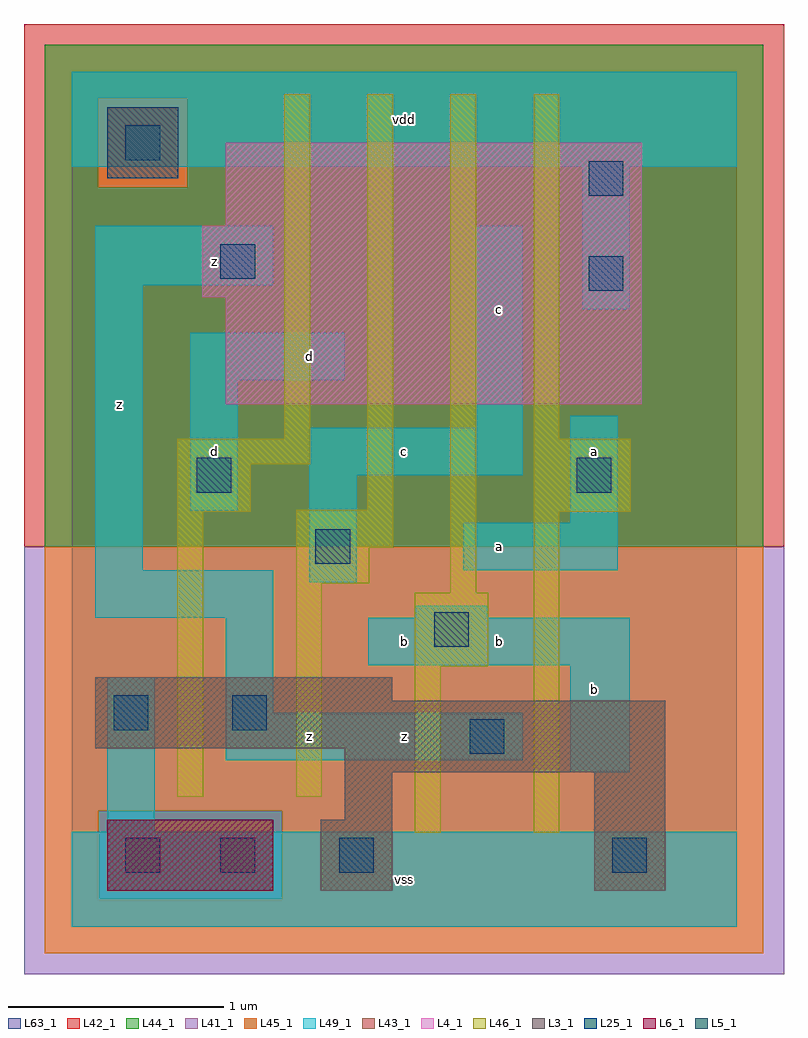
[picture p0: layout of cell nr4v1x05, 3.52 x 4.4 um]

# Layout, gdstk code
import gdstk
lib = gdstk.Library(unit=1e-6, precision=1e-09)
def R(c, l, rs):  # rectangles x0, y0, x1, y1
    for r in rs: c.add(gdstk.rectangle(r[:2], r[2:], *l))
L3_1 = (3, 1)
L4_1 = (4, 1)
L5_1 = (5, 1)
L6_1 = (6, 1)
L25_1 = (25, 1)
L41_1 = (41, 1)
L42_1 = (42, 1)
L43_1 = (43, 1)
L44_1 = (44, 1)
L45_1 = (45, 1)
L46_1 = (46, 1)
L49_1 = (49, 1)
L63_1 = (63, 1)

nr4v1x05 = lib.new_cell('nr4v1x05')
R(nr4v1x05, L3_1, [(1.155,0.165,1.485,0.495), (2.42,0.165,2.75,0.715), (1.265,0.495,1.485,0.715), (1.265,0.715,2.75,0.825), (0.11,0.825,2.75,1.045), (0.11,1.045,1.485,1.155)])
R(nr4v1x05, L4_1, [(0.715,2.42,2.64,2.915), (0.605,2.915,2.64,3.245), (0.715,3.245,2.64,3.63)])
R(nr4v1x05, L5_1, [(0.165,3.465,0.495,3.795)])
R(nr4v1x05, L6_1, [(0.165,0.165,0.935,0.495)])
R(nr4v1x05, L25_1, [(0.25,0.25,0.41,0.41), (0.69,0.25,0.85,0.41), (1.24,0.25,1.4,0.41), (2.505,0.25,2.665,0.41), (1.845,0.8,2.005,0.96), (0.195,0.91,0.355,1.07), (0.745,0.91,0.905,1.07), (1.68,1.295,1.84,1.455), (1.13,1.68,1.29,1.84), (0.58,2.01,0.74,2.17), (2.34,2.01,2.5,2.17), (2.395,2.945,2.555,3.105), (0.69,3,0.85,3.16), (2.395,3.385,2.555,3.545), (0.25,3.55,0.41,3.71)])
R(nr4v1x05, L41_1, [(-0.22,-0.22,3.3,1.76)])
R(nr4v1x05, L42_1, [(-0.22,1.76,3.3,4.18)])
R(nr4v1x05, L43_1, [(0.165,0.165,0.935,0.495), (1.155,0.165,1.485,0.495), (2.42,0.165,2.75,0.715), (1.265,0.495,1.485,0.715), (1.265,0.715,2.75,0.825), (0.11,0.825,2.75,1.045), (0.11,1.045,1.485,1.155), (0.715,2.42,2.64,2.915), (0.605,2.915,2.64,3.245), (0.715,3.245,2.64,3.63), (0.165,3.465,0.495,3.795)])
R(nr4v1x05, L44_1, [(0.125,0.125,0.975,0.535), (-0.125,1.76,3.205,3.425), (-0.125,3.425,0.125,3.835), (0.535,3.425,3.205,3.835), (-0.125,3.835,3.205,4.085)])
R(nr4v1x05, L45_1, [(-0.125,-0.125,3.205,0.125), (-0.125,0.125,0.125,0.535), (0.975,0.125,3.205,0.535), (-0.125,0.535,3.205,1.76), (0.125,3.425,0.535,3.835)])
R(nr4v1x05, L46_1, [(1.59,0.435,1.71,1.205), (2.14,0.435,2.26,1.92), (0.49,0.6,0.61,1.92), (1.04,0.6,1.16,1.59), (1.59,1.205,1.93,1.545), (1.755,1.545,1.875,3.855), (1.04,1.59,1.38,1.755), (1.04,1.755,1.49,1.93), (0.49,1.92,0.83,2.14), (2.14,1.92,2.59,2.26), (1.37,1.93,1.49,3.855), (0.49,2.14,1.105,2.26), (0.985,2.26,1.105,3.855), (2.14,2.26,2.26,3.855)])
R(nr4v1x05, L49_1, [(0,0,3.08,0.44), (0.165,0.44,0.385,1.155), (2.31,0.715,2.585,1.21), (0.715,0.77,2.09,0.99), (0.715,0.99,0.935,1.43), (1.375,1.21,2.585,1.43), (0.11,1.43,0.935,1.65), (1.595,1.43,1.925,1.485), (1.1,1.595,1.32,2.09), (0.11,1.65,0.33,2.97), (1.815,1.65,2.53,1.87), (2.31,1.87,2.53,2.365), (0.55,1.925,0.77,2.53), (1.1,2.09,2.09,2.31), (1.87,2.31,2.09,3.245), (0.55,2.53,1.265,2.75), (2.365,2.86,2.585,3.52), (0.11,2.97,0.935,3.245), (0,3.52,3.08,3.96)])
R(nr4v1x05, L63_1, [(0,0,3.08,3.96)])
nr4v1x05.add(gdstk.Label('z', (0.22,2.42), layer=49, texttype=1))
nr4v1x05.add(gdstk.Label('z', (1.1,0.88), layer=49, texttype=1))
nr4v1x05.add(gdstk.Label('d', (0.66,2.2), layer=49, texttype=1))
nr4v1x05.add(gdstk.Label('d', (1.1,2.64), layer=49, texttype=1))
nr4v1x05.add(gdstk.Label('z', (0.66,3.08), layer=49, texttype=1))
nr4v1x05.add(gdstk.Label('vss', (1.54,0.22), layer=49, texttype=1))
nr4v1x05.add(gdstk.Label('z', (1.54,0.88), layer=49, texttype=1))
nr4v1x05.add(gdstk.Label('b', (1.54,1.32), layer=49, texttype=1))
nr4v1x05.add(gdstk.Label('a', (1.98,1.76), layer=49, texttype=1))
nr4v1x05.add(gdstk.Label('b', (1.98,1.32), layer=49, texttype=1))
nr4v1x05.add(gdstk.Label('c', (1.54,2.2), layer=49, texttype=1))
nr4v1x05.add(gdstk.Label('c', (1.98,2.86), layer=49, texttype=1))
nr4v1x05.add(gdstk.Label('vdd', (1.54,3.74), layer=49, texttype=1))
nr4v1x05.add(gdstk.Label('b', (2.42,1.1), layer=49, texttype=1))
nr4v1x05.add(gdstk.Label('a', (2.42,2.2), layer=49, texttype=1))

lib.write_gds('nr4v1x05.gds')
